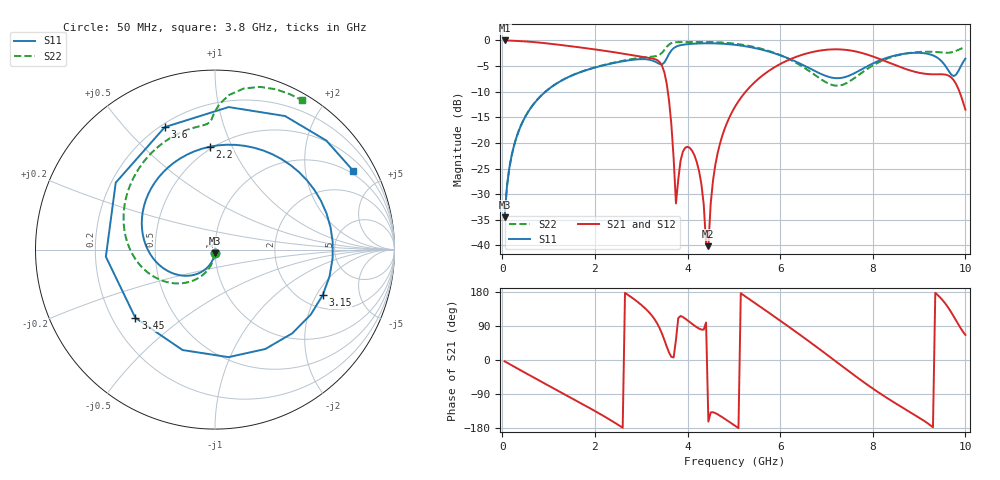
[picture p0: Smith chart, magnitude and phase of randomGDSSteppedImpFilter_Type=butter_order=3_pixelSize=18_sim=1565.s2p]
! freq	dB(S11)	phase(S11)	dB(S12)	phase(S12)
!  dB(S21)	phase(S21)	dB(S22)	phase(S22)
!S-par simulation data
#  GHz  S  DB  R 50
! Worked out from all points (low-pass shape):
!   200 points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, 50 MHz to 10 GHz, reference 50 ohm
!   highest |S21| = -0.01 dB at 50 MHz (marker M1); lowest = -40.1 dB at 4.45 GHz (marker M2)
!   |S21| within 3 dB of the highest: start of sweep to 2.892 GHz; 6.408 GHz to 7.963 GHz (1.555 GHz wide, 21.6 % of centre)
!   lowest |S11| = -34.5 dB at 50 MHz (marker M3), VSWR 1.04, Z = 49.8 - j1.87 ohm
!   |S11| at or under -10 dB: start of sweep to 933 MHz
!   |S22| runs from -34.5 to -0.3 dB; largest |S21 - S12| = 0
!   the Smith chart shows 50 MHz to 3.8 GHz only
!   S11 on the Smith chart (normalised r, x): 50 MHz: 1.00, -0.04; 2.2 GHz: 0.48, +0.83; 3.15 GHz: 2.56, -2.26; 3.45 GHz: 0.30, -0.34; 3.6 GHz: 0.22, +0.65; 3.8 GHz: 0.87, +3.58
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0.05  -34.52 -93.8  -0.01 -3.5  -0.01 -3.5  -34.52 -92.8
0.5  -14.82 -129.4  -0.20 -34.2  -0.20 -34.2  -14.80 -120.1
1.75  -5.99 132.0  -1.45 -117.6  -1.45 -117.6  -5.96 171.5
2.2  -4.82 93.0  -2.01 -148.7  -2.01 -148.7  -4.77 148.4
3.15  -3.72 -23.0  -3.37 128.4  -3.37 128.4  -3.23 99.5
3.4  -4.61 -107.9  -4.25 83.3  -4.25 83.3  -2.77 91.4
3.45  -4.67 -139.4  -4.95 69.1  -4.95 69.1  -2.39 90.4
3.6  -2.64 112.3  -11.68 19.9  -11.68 19.9  -0.80 79.9
3.75  -1.23 44.4  -31.80 53.1  -31.80 53.1  -0.34 64.4
3.8  -1.05 29.7  -27.15 110.7  -27.15 110.7  -0.33 59.9
4.15  -0.63 -34.3  -22.44 90.6  -22.44 90.6  -0.32 33.1
4.45  -0.56 -71.1  -40.13 -162.6  -40.13 -162.6  -0.32 11.4
4.65  -0.59 -92.9  -21.99 -143.3  -21.99 -143.3  -0.37 -3.1
5.05  -0.88 -133.4  -12.57 -175.5  -12.57 -175.5  -0.67 -32.3
5.95  -2.73 141.1  -4.85 108.2  -4.85 108.2  -2.68 -100.7
6.7  -5.74 79.2  -2.25 42.3  -2.25 42.3  -6.43 -171.5
7.45  -7.01 47.1  -1.87 -26.5  -1.87 -26.5  -8.24 71.8
8.35  -3.25 -4.6  -4.34 -103.5  -4.34 -103.5  -3.41 -30.1
9.25  -2.76 -81.9  -6.60 -172.8  -6.60 -172.8  -2.20 -84.8
9.65  -6.10 -173.3  -6.93 134.4  -6.93 134.4  -2.39 -98.6
9.85  -5.95 84.3  -9.49 93.5  -9.49 93.5  -1.83 -103.5
10  -3.55 30.1  -13.49 66.1  -13.49 66.1  -1.34 -110.0
